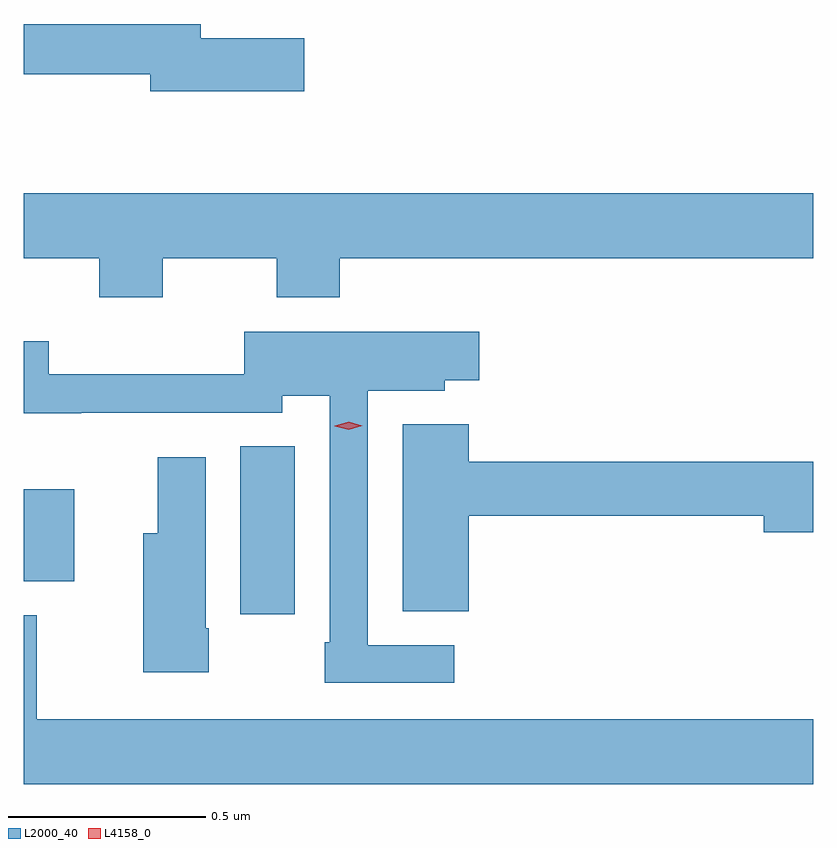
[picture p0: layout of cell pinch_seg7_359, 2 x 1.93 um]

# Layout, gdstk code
import gdstk
lib = gdstk.Library(unit=1e-6, precision=1e-09)
def R(c, l, rs):  # rectangles x0, y0, x1, y1
    for r in rs: c.add(gdstk.rectangle(r[:2], r[2:], *l))
def P(c, l, *ps):  # polygons
    for p in ps: c.add(gdstk.Polygon(p, *l))
L2000_40 = (2000, 40)
L4158_0 = (4158, 0)

pinch_seg7_359 = lib.new_cell('pinch_seg7_359')
R(pinch_seg7_359, L2000_40, [(400.892,1034.346,401.029,1034.771), (400.343,1034.429,400.471,1034.662)])
P(pinch_seg7_359, L2000_40, [(401.053,1035.805),(400.792,1035.805),(400.792,1035.841),(400.343,1035.841),(400.343,1035.714),(400.664,1035.714),(400.664,1035.671),(401.053,1035.671)],
  [(400.695,1035.248),(400.984,1035.248),(400.984,1035.149),(401.144,1035.149),(401.144,1035.248),(402.343,1035.248),(402.343,1035.412),(400.343,1035.412),(400.343,1035.248),(400.535,1035.248),(400.535,1035.149),(400.695,1035.149)],
  [(401.434,1034.268),(401.214,1034.268),(401.214,1034.912),(401.409,1034.912),(401.409,1034.939),(401.497,1034.939),(401.497,1035.061),(400.902,1035.061),(400.902,1034.954),(400.406,1034.954),(400.406,1035.037),(400.343,1035.037),(400.343,1034.855),(400.489,1034.855),(400.489,1034.856),(400.998,1034.856),(400.998,1034.9),(401.118,1034.9),(401.118,1034.275),(401.106,1034.275),(401.106,1034.172),(401.434,1034.172)],
  [(401.47,1034.596),(402.218,1034.596),(402.218,1034.554),(402.343,1034.554),(402.343,1034.732),(401.47,1034.732),(401.47,1034.827),(401.303,1034.827),(401.303,1034.353),(401.47,1034.353)],
  [(400.812,1034.311),(400.804,1034.311),(400.804,1034.743),(400.682,1034.743),(400.682,1034.551),(400.646,1034.551),(400.646,1034.199),(400.812,1034.199)],
  [(402.343,1034.08),(400.376,1034.08),(400.376,1034.344),(400.343,1034.344),(400.343,1033.916),(402.343,1033.916)])
P(pinch_seg7_359, L4158_0, [(401.166,1034.813),(401.131,1034.822),(401.131,1034.823),(401.131,1034.823),(401.166,1034.833),(401.2,1034.824),(401.201,1034.824),(401.2,1034.824)])

lib.write_gds('pinch_seg7_359.gds')
